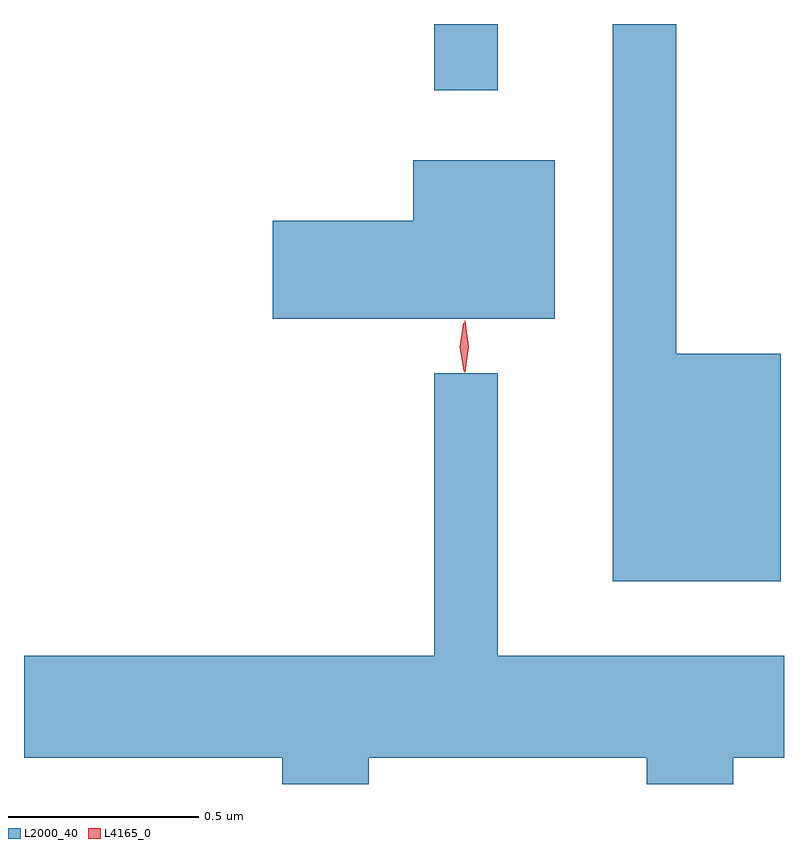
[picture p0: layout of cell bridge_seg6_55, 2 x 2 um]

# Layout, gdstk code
import gdstk
lib = gdstk.Library(unit=1e-6, precision=1e-09)
def R(c, l, rs):  # rectangles x0, y0, x1, y1
    for r in rs: c.add(gdstk.rectangle(r[:2], r[2:], *l))
def P(c, l, *ps):  # polygons
    for p in ps: c.add(gdstk.Polygon(p, *l))
L2000_40 = (2000, 40)
L4165_0 = (4165, 0)

bridge_seg6_55 = lib.new_cell('bridge_seg6_55')
R(bridge_seg6_55, L2000_40, [(1666.491,1582.873,1666.659,1583.047)])
P(bridge_seg6_55, L2000_40, [(1667.404,1582.179),(1667.129,1582.179),(1667.129,1583.047),(1666.961,1583.047),(1666.961,1581.581),(1667.404,1581.581)],
  [(1666.809,1582.689),(1666.436,1582.689),(1666.436,1582.529),(1666.066,1582.529),(1666.066,1582.271),(1666.809,1582.271)],
  [(1666.319,1581.116),(1667.051,1581.116),(1667.051,1581.047),(1667.279,1581.047),(1667.279,1581.116),(1667.412,1581.116),(1667.412,1581.384),(1666.659,1581.384),(1666.659,1582.128),(1666.491,1582.128),(1666.491,1581.384),(1665.412,1581.384),(1665.412,1581.116),(1666.091,1581.116),(1666.091,1581.047),(1666.319,1581.047)])
P(bridge_seg6_55, L4165_0, [(1666.569,1582.133),(1666.569,1582.134),(1666.559,1582.196),(1666.568,1582.26),(1666.569,1582.26),(1666.569,1582.26),(1666.579,1582.196),(1666.57,1582.134)],
  [(1666.572,1582.13),(1666.572,1582.13),(1666.562,1582.198),(1666.572,1582.266),(1666.572,1582.266),(1666.573,1582.266),(1666.582,1582.198),(1666.573,1582.13)])

lib.write_gds('bridge_seg6_55.gds')
